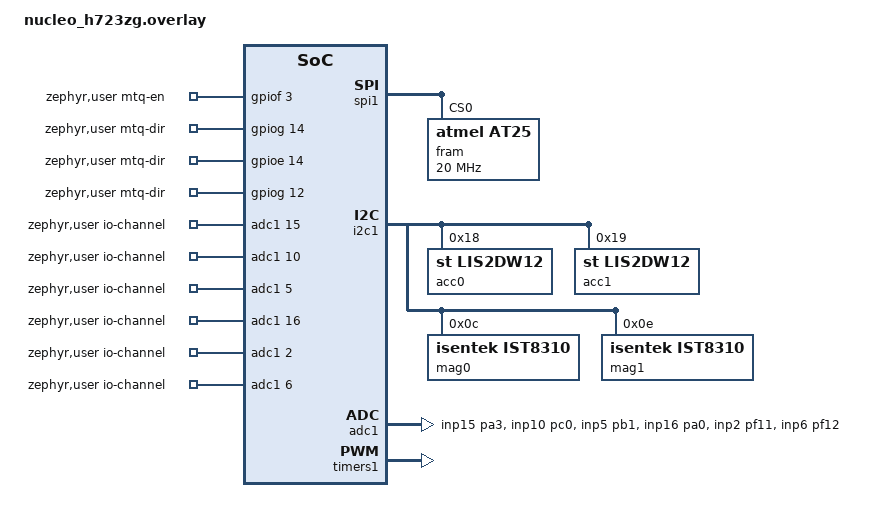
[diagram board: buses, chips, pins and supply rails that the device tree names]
/*
 * NUCLEO-H723ZG wiring for the satellite demo (Components/Satellite, sim/).
 * Pins are our own choice of free NUCLEO-H723ZG header pins (UM2407); the full table
 * is in sim/README.md. The FRAM, accelerometers, magnetometers, sun sensors and
 * magnetorquer bridges are external parts: in sim they are the Python peers in sim/peers.
 *
 * SPDX-License-Identifier: Apache-2.0
 */
#include <zephyr/dt-bindings/gpio/gpio.h>

/ {
	chosen {
		/* USART3 (ST-LINK VCP) carries the F' ground link; the console moves to USART2. */
		zephyr,console = &usart2;
		zephyr,shell-uart = &usart2;
	};

	aliases {
		gds-uart = &usart3;
		fram0 = &fram;
		accel0 = &acc0;
		accel1 = &acc1;
		magn0 = &mag0;
		magn1 = &mag1;
		mtq-pwm = &pwm1;
	};

	zephyr,user {
		/* Sun sensors, panels 1..6: A0 PA3, A1 PC0, A3 PB1, PA0, PF11, PF12 (ADC1 INP15/10/5/16/2/6). */
		io-channels = <&adc1 15>, <&adc1 10>, <&adc1 5>, <&adc1 16>, <&adc1 2>, <&adc1 6>;
		/* Magnetorquer H-bridge enable: D8 PF3, active high. */
		mtq-en-gpios = <&gpiof 3 GPIO_ACTIVE_HIGH>;
		/* Coil direction X, Y, Z: D2 PG14, D4 PE14, D7 PG12; 1 = positive dipole. */
		mtq-dir-gpios = <&gpiog 14 GPIO_ACTIVE_HIGH>, <&gpioe 14 GPIO_ACTIVE_HIGH>,
				<&gpiog 12 GPIO_ACTIVE_HIGH>;
	};
};

/* FRAM on the Arduino SPI pins: SPI1 D13 PA5 / D12 PA6 / D11 PB5, CS D10 PD14 (board defaults). */
&spi1 {
	fram: fram@0 {
		compatible = "atmel,at25";
		reg = <0>;
		spi-max-frequency = <DT_FREQ_M(20)>;
		size = <DT_SIZE_K(256)>;
		/* FRAM has no pages or write cycle; the binding requires both. */
		pagesize = <256>;
		address-width = <24>;
		timeout = <1>;
	};
};

/* Attitude sensors on the Arduino I2C pins: I2C1 D15 PB8 SCL / D14 PB9 SDA (board defaults). */
&i2c1 {
	acc0: accel@18 {
		compatible = "st,lis2dw12";
		reg = <0x18>;
	};

	acc1: accel@19 {
		compatible = "st,lis2dw12";
		reg = <0x19>;
	};

	mag0: magn@c {
		compatible = "isentek,ist8310";
		reg = <0x0c>;
	};

	mag1: magn@e {
		compatible = "isentek,ist8310";
		reg = <0x0e>;
	};
};

&adc1 {
	pinctrl-0 = <&adc1_inp15_pa3 &adc1_inp10_pc0 &adc1_inp5_pb1
		     &adc1_inp16_pa0 &adc1_inp2_pf11 &adc1_inp6_pf12>;
	pinctrl-names = "default";
	st,adc-clock-source = "SYNC";
	st,adc-prescaler = <4>;
	#address-cells = <1>;
	#size-cells = <0>;
	status = "okay";

#define SUN_CHANNEL(unit, n)						\
	channel@unit {						\
		reg = <n>;					\
		zephyr,gain = "ADC_GAIN_1";			\
		zephyr,reference = "ADC_REF_INTERNAL";		\
		zephyr,acquisition-time = <ADC_ACQ_TIME_DEFAULT>; \
		zephyr,resolution = <16>;			\
	}
	SUN_CHANNEL(f, 15);
	SUN_CHANNEL(a, 10);
	SUN_CHANNEL(5, 5);
	SUN_CHANNEL(10, 16);
	SUN_CHANNEL(2, 2);
	SUN_CHANNEL(6, 6);
};

/* Magnetorquer PWM X/Y/Z: TIM1 CH1 D6 PE9, CH2 D5 PE11, CH3 D3 PE13. */
&timers1 {
	status = "okay";

	pwm1: pwm {
		pinctrl-0 = <&tim1_ch1_pe9 &tim1_ch2_pe11 &tim1_ch3_pe13>;
		pinctrl-names = "default";
		status = "okay";
	};
};
